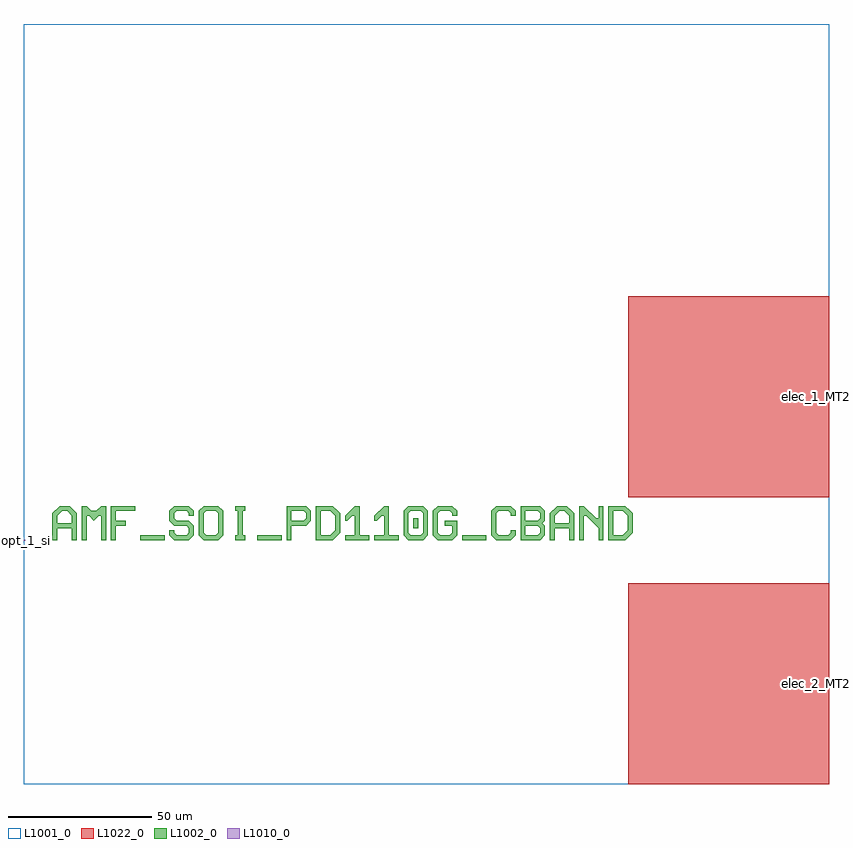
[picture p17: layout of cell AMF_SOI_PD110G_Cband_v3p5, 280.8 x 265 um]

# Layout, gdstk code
import gdstk
lib = gdstk.Library(unit=1e-6, precision=1e-09)
def R(c, l, rs):  # rectangles x0, y0, x1, y1
    for r in rs: c.add(gdstk.rectangle(r[:2], r[2:], *l))
def P(c, l, *ps):  # polygons
    for p in ps: c.add(gdstk.Polygon(p, *l))
L1001_0 = (1001, 0)
L1002_0 = (1002, 0)
L1010_0 = (1010, 0)
L1022_0 = (1022, 0)

amf_soi_pd110g_cband_v3p = lib.new_cell('AMF_SOI_PD110G_Cband_v3p5')
R(amf_soi_pd110g_cband_v3p, L1001_0, [(0,-85,280.8,180)])
R(amf_soi_pd110g_cband_v3p, L1002_0, [(40.586,0,49.086,1.7), (81.386,0,89.886,1.7), (152.786,0,161.286,1.7), (135.786,4.25,137.486,7.65)])
P(amf_soi_pd110g_cband_v3p, L1002_0, [(9.986,0),(9.986,9.35),(12.536,11.9),(15.936,11.9),(17.636,10.2),(13.386,10.2),(11.686,8.5),(11.686,5.95),(16.786,5.95),(16.786,8.5),(15.086,10.2),(17.636,10.2),(18.486,9.35),(18.486,0),(16.786,0),(16.786,4.25),(11.686,4.25),(11.686,0)],
  [(20.186,0),(20.186,11.9),(21.886,11.9),(23.586,10.2),(25.286,10.2),(26.986,11.9),(28.686,11.9),(28.686,0),(26.986,0),(26.986,8.5),(26.136,8.5),(24.436,6.8),(22.736,8.5),(21.886,8.5),(21.886,0)],
  [(30.386,0),(30.386,11.9),(38.886,11.9),(38.886,10.2),(32.086,10.2),(32.086,6.8),(35.486,6.8),(35.486,5.1),(32.086,5.1),(32.086,0)],
  [(52.486,0),(50.786,1.7),(50.786,3.4),(52.486,3.4),(52.486,2.55),(53.336,1.7),(56.736,1.7),(57.586,2.55),(57.586,4.25),(56.736,5.1),(52.486,5.1),(50.786,6.8),(50.786,10.2),(52.486,11.9),(57.586,11.9),(59.286,10.2),(59.286,8.5),(57.586,8.5),(57.586,9.35),(56.736,10.2),(53.336,10.2),(52.486,9.35),(52.486,7.65),(53.336,6.8),(57.586,6.8),(59.286,5.1),(59.286,1.7),(57.586,0)],
  [(62.686,0),(60.986,1.7),(60.986,10.2),(62.686,11.9),(67.786,11.9),(69.486,10.2),(69.486,5.95),(67.786,5.95),(67.786,9.35),(66.936,10.2),(63.536,10.2),(62.686,9.35),(62.686,2.55),(63.536,1.7),(66.936,1.7),(67.786,2.55),(67.786,5.95),(69.486,5.95),(69.486,1.7),(67.786,0)],
  [(73.736,0),(73.736,1.7),(74.586,1.7),(74.586,10.2),(73.736,10.2),(73.736,11.9),(77.136,11.9),(77.136,10.2),(76.286,10.2),(76.286,1.7),(77.136,1.7),(77.136,0)],
  [(91.586,0),(91.586,11.9),(98.386,11.9),(100.086,10.2),(100.086,6.8),(98.386,5.1),(93.286,5.1),(93.286,6.8),(97.536,6.8),(98.386,7.65),(98.386,9.35),(97.536,10.2),(93.286,10.2),(93.286,0)],
  [(101.786,0),(101.786,11.9),(107.736,11.9),(109.436,10.2),(103.486,10.2),(103.486,1.7),(106.886,1.7),(108.586,3.4),(108.586,8.5),(106.886,10.2),(109.436,10.2),(110.286,9.35),(110.286,2.55),(107.736,0)],
  [(111.986,0),(111.986,1.7),(115.386,1.7),(115.386,8.5),(114.536,8.5),(112.836,6.8),(111.986,6.8),(111.986,8.5),(115.386,11.9),(117.086,11.9),(117.086,1.7),(120.486,1.7),(120.486,0)],
  [(122.186,0),(122.186,1.7),(125.586,1.7),(125.586,8.5),(124.736,8.5),(123.036,6.8),(122.186,6.8),(122.186,8.5),(125.586,11.9),(127.286,11.9),(127.286,1.7),(130.686,1.7),(130.686,0)],
  [(134.086,0),(132.386,1.7),(132.386,10.2),(134.086,11.9),(139.186,11.9),(140.886,10.2),(134.936,10.2),(134.086,9.35),(134.086,2.55),(134.936,1.7),(138.336,1.7),(139.186,2.55),(139.186,9.35),(138.336,10.2),(140.886,10.2),(140.886,1.7),(139.186,0)],
  [(144.286,0),(142.586,1.7),(142.586,10.2),(144.286,11.9),(149.386,11.9),(151.086,10.2),(151.086,8.5),(149.386,8.5),(149.386,9.35),(148.536,10.2),(145.136,10.2),(144.286,9.35),(144.286,2.55),(145.136,1.7),(148.536,1.7),(149.386,2.55),(149.386,5.1),(146.836,5.1),(146.836,6.8),(151.086,6.8),(151.086,1.7),(149.386,0)],
  [(164.686,0),(162.986,1.7),(162.986,10.2),(164.686,11.9),(169.786,11.9),(171.486,10.2),(171.486,8.5),(169.786,8.5),(169.786,9.35),(168.936,10.2),(165.536,10.2),(164.686,9.35),(164.686,2.55),(165.536,1.7),(168.936,1.7),(169.786,2.55),(169.786,3.4),(171.486,3.4),(171.486,1.7),(169.786,0)],
  [(173.186,0),(173.186,11.9),(179.986,11.9),(181.686,10.2),(174.886,10.2),(174.886,6.8),(179.136,6.8),(179.986,7.65),(179.986,9.35),(179.136,10.2),(181.686,10.2),(181.686,6.8),(180.836,5.95),(181.686,5.1),(174.886,5.1),(174.886,1.7),(179.136,1.7),(179.986,2.55),(179.986,4.25),(179.136,5.1),(181.686,5.1),(181.686,1.7),(179.986,0)],
  [(183.386,0),(183.386,9.35),(185.936,11.9),(189.336,11.9),(191.036,10.2),(186.786,10.2),(185.086,8.5),(185.086,5.95),(190.186,5.95),(190.186,8.5),(188.486,10.2),(191.036,10.2),(191.886,9.35),(191.886,0),(190.186,0),(190.186,4.25),(185.086,4.25),(185.086,0)],
  [(193.586,0),(193.586,11.9),(195.286,11.9),(199.536,7.65),(200.386,7.65),(200.386,11.9),(202.086,11.9),(202.086,0),(200.386,0),(200.386,4.25),(196.136,8.5),(195.286,8.5),(195.286,0)],
  [(203.786,0),(203.786,11.9),(209.736,11.9),(211.436,10.2),(205.486,10.2),(205.486,1.7),(208.886,1.7),(210.586,3.4),(210.586,8.5),(208.886,10.2),(211.436,10.2),(212.286,9.35),(212.286,2.55),(209.736,0)])
R(amf_soi_pd110g_cband_v3p, L1010_0, [(0,-0.25,0.5,0.25)])
R(amf_soi_pd110g_cband_v3p, L1022_0, [(210.8,-85,280.8,-15), (210.8,15,280.8,85)])
amf_soi_pd110g_cband_v3p.add(gdstk.Label('opt_1_si', (0,0), layer=1010, texttype=0))
amf_soi_pd110g_cband_v3p.add(gdstk.Label('elec_1_MT2', (280,50), layer=1022, texttype=0))
amf_soi_pd110g_cband_v3p.add(gdstk.Label('elec_2_MT2', (280,-50), layer=1022, texttype=0))

lib.write_gds('AMF_SOI_PD110G_Cband_v3p5.gds')
